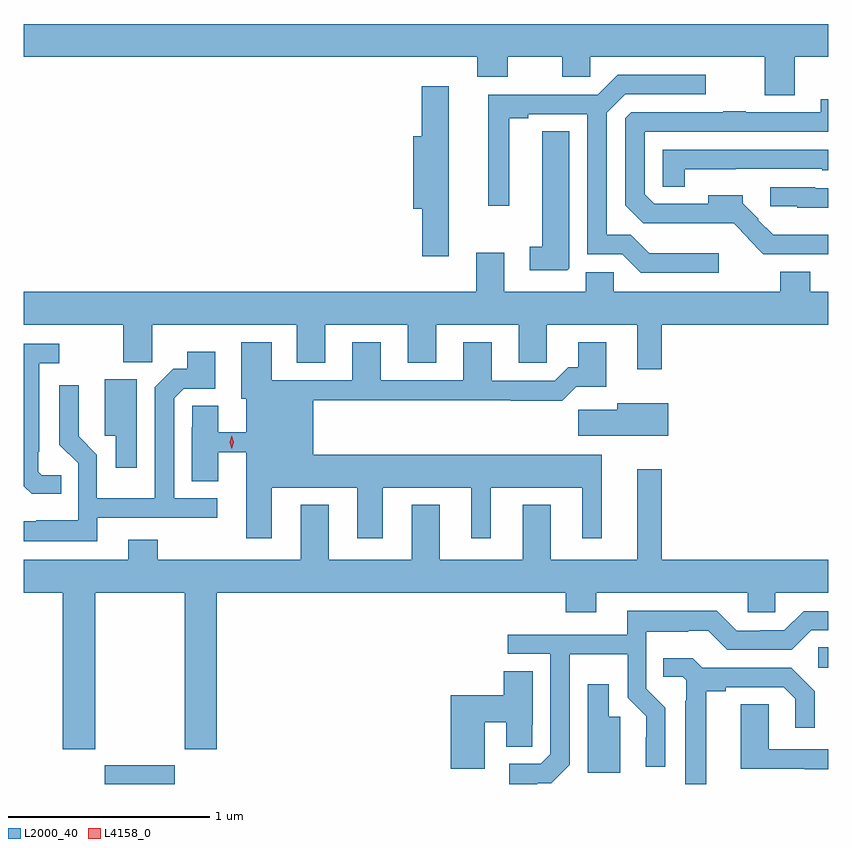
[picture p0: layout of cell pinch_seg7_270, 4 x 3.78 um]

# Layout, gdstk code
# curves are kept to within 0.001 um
import gdstk
lib = gdstk.Library(unit=1e-6, precision=1e-09)
def R(c, l, rs):  # rectangles x0, y0, x1, y1
    for r in rs: c.add(gdstk.rectangle(r[:2], r[2:], *l))
def P(c, l, *ps):  # polygons
    for p in ps: c.add(gdstk.Polygon(p, *l))
L2000_40 = (2000, 40)
L4158_0 = (4158, 0)

pinch_seg7_270 = lib.new_cell('pinch_seg7_270')
R(pinch_seg7_270, L2000_40, [(626.234,1040.956,626.584,1041.049), (629.784,1041.534,629.833,1041.635)])
P(pinch_seg7_270, L2000_40, [(629.667,1044.572),(629.833,1044.572),(629.833,1044.736),(625.833,1044.736),(625.833,1044.572),(628.088,1044.572),(628.088,1044.473),(628.24,1044.473),(628.24,1044.572),(628.511,1044.572),(628.511,1044.474),(628.65,1044.474),(628.65,1044.572),(629.519,1044.572),(629.519,1044.382),(629.667,1044.382)],
  [(629.29,1043.596),(628.943,1043.596),(628.852,1043.687),(628.731,1043.687),(628.731,1044.294),(628.824,1044.387),(629.224,1044.387),(629.224,1044.483),(628.787,1044.483),(628.688,1044.384),(628.142,1044.384),(628.142,1043.832),(628.246,1043.832),(628.246,1044.268),(628.342,1044.268),(628.342,1044.288),(628.635,1044.288),(628.635,1043.592),(628.809,1043.592),(628.902,1043.499),(629.29,1043.499)],
  [(627.946,1044.427),(627.812,1044.427),(627.812,1044.178),(627.77,1044.178),(627.77,1043.816),(627.815,1043.816),(627.815,1043.58),(627.946,1043.58)],
  [(629.833,1043.689),(629.662,1043.689),(629.662,1043.687),(629.561,1043.687),(629.484,1043.763),(629.487,1043.766),(629.408,1043.845),(629.408,1043.884),(629.237,1043.884),(629.237,1043.841),(628.968,1043.841),(628.92,1043.889),(628.92,1044.201),(629.833,1044.201),(629.833,1044.361),(629.797,1044.361),(629.797,1044.297),(629.423,1044.297),(629.423,1044.302),(629.311,1044.302),(629.311,1044.297),(628.854,1044.297),(628.824,1044.267),(628.824,1043.835),(628.913,1043.746),(629.029,1043.746),(629.029,1043.744),(629.363,1043.745),(629.437,1043.671),(629.435,1043.669),(629.511,1043.592),(629.833,1043.592)],
  [(628.546,1043.521),(628.546,1044.203),(628.412,1044.203),(628.412,1043.627),(628.35,1043.627),(628.35,1043.511),(628.536,1043.511)],
  [(629.119,1044.014),(629.373,1044.014),(629.373,1044.015),(629.805,1044.015),(629.805,1044.008),(629.833,1044.008),(629.833,1044.111),(629.01,1044.111),(629.01,1043.926),(629.119,1043.926)],
  [(629.833,1043.919),(629.769,1043.919),(629.769,1043.925),(629.544,1043.925),(629.544,1043.829),(629.679,1043.829),(629.679,1043.822),(629.833,1043.822)],
  [(629.005,1043.24),(629.833,1043.24),(629.833,1043.404),(629.743,1043.404),(629.743,1043.503),(629.596,1043.503),(629.596,1043.404),(628.767,1043.404),(628.767,1043.502),(628.628,1043.502),(628.628,1043.404),(628.222,1043.404),(628.222,1043.599),(628.082,1043.599),(628.082,1043.404),(625.833,1043.404),(625.833,1043.24),(626.326,1043.24),(626.326,1043.053),(626.472,1043.053),(626.472,1043.24),(627.191,1043.24),(627.191,1043.05),(627.331,1043.05),(627.331,1043.24),(627.743,1043.24),(627.743,1043.05),(627.883,1043.05),(627.883,1043.24),(628.295,1043.24),(628.295,1043.05),(628.434,1043.05),(628.434,1043.24),(628.883,1043.24),(628.883,1043.019),(629.005,1043.019)],
  [(627.067,1042.43),(627.491,1042.43),(627.491,1042.179),(627.619,1042.179),(627.619,1042.43),(628.058,1042.43),(628.058,1042.179),(628.156,1042.179),(628.156,1042.43),(628.61,1042.43),(628.61,1042.179),(628.708,1042.179),(628.708,1042.594),(627.271,1042.594),(627.271,1042.864),(628.255,1042.864),(628.255,1042.862),(628.511,1042.862),(628.58,1042.931),(628.729,1042.931),(628.729,1043.152),(628.589,1043.152),(628.589,1043.029),(628.54,1043.029),(628.473,1042.962),(628.159,1042.962),(628.159,1043.152),(628.019,1043.152),(628.019,1042.965),(627.607,1042.965),(627.607,1043.152),(627.467,1043.152),(627.467,1042.965),(627.067,1042.965),(627.067,1043.152),(626.915,1043.152),(626.915,1042.872),(626.939,1042.872),(626.939,1042.705),(626.8,1042.705),(626.8,1042.838),(626.67,1042.838),(626.669,1042.462),(626.8,1042.462),(626.8,1042.606),(626.939,1042.606),(626.939,1042.179),(627.067,1042.179)],
  [(626.018,1042.491),(625.923,1042.491),(625.905,1042.509),(625.905,1042.609),(625.909,1042.609),(625.909,1043.049),(626.008,1043.049),(626.008,1043.145),(625.833,1043.145),(625.833,1042.437),(625.872,1042.399),(626.018,1042.399)],
  [(626.197,1042.281),(626.794,1042.281),(626.794,1042.377),(626.58,1042.377),(626.58,1042.875),(626.628,1042.923),(626.785,1042.923),(626.785,1043.107),(626.645,1043.107),(626.645,1043.022),(626.577,1043.022),(626.484,1042.929),(626.484,1042.378),(626.196,1042.378),(626.196,1042.594),(626.105,1042.686),(626.106,1042.939),(626.01,1042.939),(626.01,1042.644),(626.103,1042.551),(626.103,1042.267),(625.894,1042.267),(625.894,1042.263),(625.833,1042.263),(625.833,1042.163),(626.197,1042.163)],
  [(626.395,1042.968),(626.234,1042.968),(626.234,1042.689),(626.291,1042.689),(626.291,1042.53),(626.395,1042.53)],
  [(629.038,1042.849),(628.784,1042.849),(628.784,1042.817),(628.59,1042.817),(628.59,1042.688),(629.038,1042.688)],
  [(626.187,1041.908),(626.632,1041.908),(626.632,1041.129),(626.792,1041.129),(626.792,1041.908),(628.529,1041.908),(628.529,1041.809),(628.681,1041.809),(628.681,1041.908),(629.433,1041.908),(629.433,1041.81),(629.571,1041.81),(629.571,1041.908),(629.833,1041.908),(629.833,1042.072),(629.005,1042.072),(629.005,1042.522),(628.883,1042.522),(628.883,1042.072),(628.453,1042.072),(628.453,1042.345),(628.313,1042.345),(628.313,1042.072),(627.901,1042.072),(627.901,1042.345),(627.761,1042.345),(627.761,1042.072),(627.349,1042.072),(627.349,1042.345),(627.209,1042.345),(627.209,1042.072),(626.499,1042.072),(626.499,1042.171),(626.351,1042.171),(626.351,1042.072),(625.833,1042.072),(625.833,1041.908),(626.027,1041.908),(626.027,1041.129),(626.187,1041.129)],
  [(628.387,1040.959),(628.455,1040.959),(628.548,1041.051),(628.548,1041.602),(628.836,1041.602),(628.836,1041.386),(628.928,1041.294),(628.928,1041.188),(628.926,1041.188),(628.926,1041.042),(629.022,1041.042),(629.022,1041.336),(628.929,1041.429),(628.929,1041.713),(629.138,1041.713),(629.138,1041.717),(629.238,1041.717),(629.331,1041.624),(629.652,1041.624),(629.748,1041.72),(629.833,1041.72),(629.833,1041.816),(629.712,1041.816),(629.616,1041.72),(629.496,1041.72),(629.496,1041.717),(629.379,1041.717),(629.279,1041.817),(628.835,1041.817),(628.835,1041.699),(628.239,1041.699),(628.239,1041.603),(628.452,1041.603),(628.452,1041.105),(628.404,1041.057),(628.247,1041.057),(628.247,1040.956),(628.387,1040.956)],
  [(629.227,1041.418),(629.323,1041.418),(629.323,1041.438),(629.612,1041.438),(629.669,1041.381),(629.669,1041.237),(629.766,1041.237),(629.766,1041.418),(629.65,1041.534),(629.208,1041.534),(629.16,1041.581),(629.014,1041.581),(629.014,1041.489),(629.109,1041.489),(629.127,1041.471),(629.127,1041.371),(629.123,1041.371),(629.123,1040.956),(629.227,1040.956)],
  [(628.126,1041.263),(628.232,1041.263),(628.232,1041.142),(628.362,1041.142),(628.362,1041.25),(628.363,1041.25),(628.363,1041.518),(628.22,1041.518),(628.22,1041.398),(627.956,1041.398),(627.956,1041.033),(628.126,1041.033)],
  [(628.798,1041.291),(628.741,1041.291),(628.741,1041.451),(628.637,1041.451),(628.637,1041.013),(628.798,1041.013)],
  [(629.833,1041.129),(629.538,1041.129),(629.538,1041.353),(629.399,1041.353),(629.399,1041.033),(629.717,1041.033),(629.717,1041.029),(629.833,1041.029)])
P(pinch_seg7_270, L4158_0, [(626.868,1042.623),(626.868,1042.623),(626.858,1042.656),(626.868,1042.688),(626.868,1042.689),(626.868,1042.688),(626.878,1042.656),(626.868,1042.623)])

lib.write_gds('pinch_seg7_270.gds')
